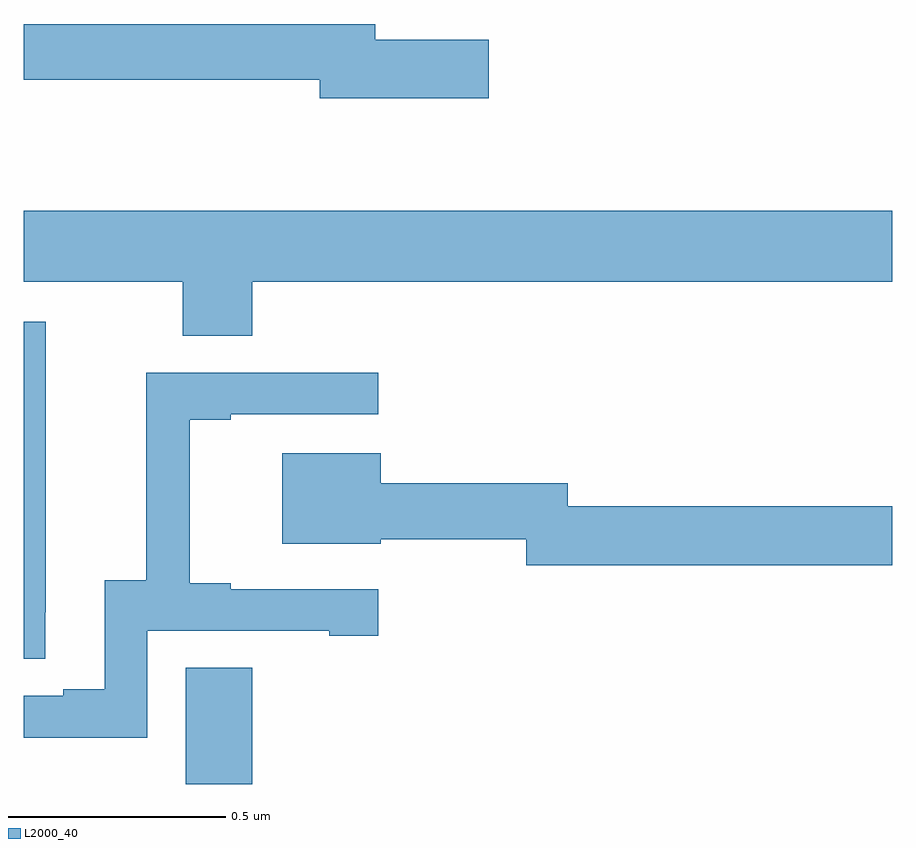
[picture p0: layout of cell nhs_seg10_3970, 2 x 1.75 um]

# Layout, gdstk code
import gdstk
lib = gdstk.Library(unit=1e-6, precision=1e-09)
def R(c, l, rs):  # rectangles x0, y0, x1, y1
    for r in rs: c.add(gdstk.rectangle(r[:2], r[2:], *l))
def P(c, l, *ps):  # polygons
    for p in ps: c.add(gdstk.Polygon(p, *l))
L2000_40 = (2000, 40)

nhs_seg10_3970 = lib.new_cell('nhs_seg10_3970')
R(nhs_seg10_3970, L2000_40, [(160.373,1292.5,160.526,1292.768)])
P(nhs_seg10_3970, L2000_40, [(161.071,1294.214),(160.81,1294.214),(160.81,1294.25),(160,1294.25),(160,1294.122),(160.682,1294.122),(160.682,1294.079),(161.071,1294.079)],
  [(160.526,1293.656),(162,1293.656),(162,1293.82),(160,1293.82),(160,1293.656),(160.366,1293.656),(160.366,1293.532),(160.526,1293.532)],
  [(160.05,1292.896),(160.051,1292.896),(160.051,1293.564),(160,1293.564),(160,1292.788),(160.05,1292.788)],
  [(160.284,1292.853),(160.703,1292.853),(160.703,1292.841),(160.816,1292.841),(160.816,1292.949),(160.477,1292.949),(160.477,1292.962),(160.382,1292.962),(160.382,1293.339),(160.477,1293.339),(160.477,1293.351),(160.816,1293.351),(160.816,1293.447),(160.282,1293.447),(160.282,1292.969),(160.187,1292.969),(160.187,1292.718),(160.091,1292.718),(160.091,1292.703),(160,1292.703),(160,1292.607),(160.284,1292.607)],
  [(162,1293.14),(161.253,1293.14),(161.253,1293.193),(160.822,1293.193),(160.822,1293.262),(160.595,1293.262),(160.595,1293.053),(160.822,1293.053),(160.822,1293.064),(161.157,1293.064),(161.157,1293.004),(162,1293.004)])

lib.write_gds('nhs_seg10_3970.gds')
